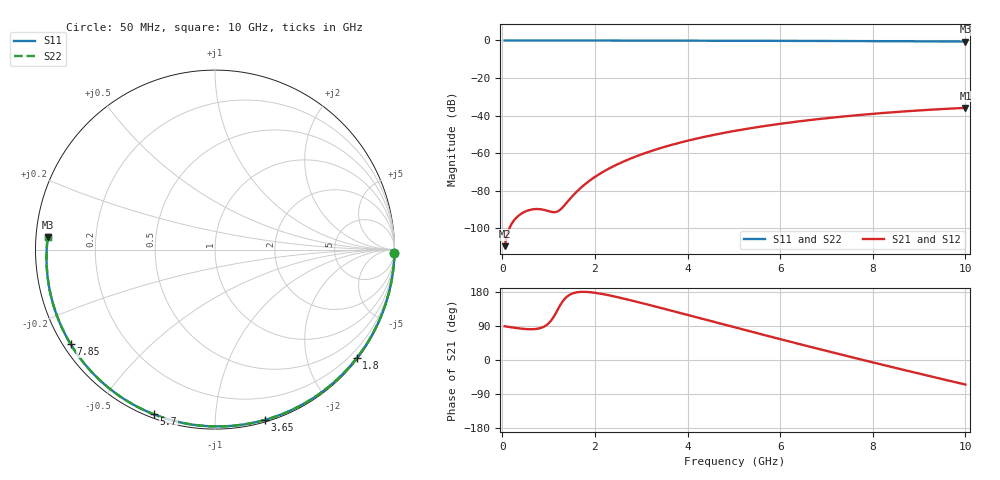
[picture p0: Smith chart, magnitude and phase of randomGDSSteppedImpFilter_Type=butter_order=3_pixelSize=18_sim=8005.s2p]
! freq	dB(S11)	phase(S11)	dB(S12)	phase(S12)
!  dB(S21)	phase(S21)	dB(S22)	phase(S22)
!S-par simulation data
#  GHz  S  DB  R 50
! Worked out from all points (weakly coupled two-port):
!   200 points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, 50 MHz to 10 GHz, reference 50 ohm
!   highest |S21| = -35.86 dB at 10 GHz (marker M1); lowest = -109.4 dB at 50 MHz (marker M2)
!   lowest |S11| = -0.6 dB at 10 GHz (marker M3), VSWR 29.47, Z = 1.7 + j1.9 ohm
!   |S11| at or under -10 dB: nowhere
!   |S22| runs from -0.6 to 0.0 dB; largest |S21 - S12| = 0
!   S11 on the Smith chart (normalised r, x): 50 MHz: open; 1.8 GHz: 0.03, -2.94; 3.65 GHz: 0.02, -1.33; 5.7 GHz: 0.02, -0.69; 7.85 GHz: 0.02, -0.30; 10 GHz: 0.03, +0.04
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0.05  -0.00 -1.1  -109.42 89.0  -109.42 89.0  -0.00 -1.1
0.4  -0.01 -8.5  -92.30 82.8  -92.30 82.8  -0.01 -8.5
0.8  -0.02 -16.9  -89.71 83.5  -89.71 83.5  -0.02 -16.9
1.6  -0.04 -33.5  -80.60 178.5  -80.60 178.5  -0.04 -33.5
1.65  -0.04 -34.5  -79.41 179.3  -79.41 179.3  -0.04 -34.5
1.75  -0.05 -36.5  -77.21 179.9  -77.21 179.9  -0.05 -36.5
1.8  -0.05 -37.5  -76.20 179.7  -76.20 179.7  -0.05 -37.5
2.1  -0.06 -43.6  -71.01 175.4  -71.01 175.4  -0.06 -43.6
2.45  -0.06 -50.6  -66.31 166.8  -66.31 166.8  -0.06 -50.6
2.9  -0.08 -59.4  -61.56 153.8  -61.56 153.8  -0.08 -59.4
3.4  -0.09 -69.0  -57.36 138.2  -57.36 138.2  -0.09 -69.0
3.65  -0.10 -73.7  -55.57 130.2  -55.57 130.2  -0.10 -73.7
4.35  -0.12 -86.6  -51.34 107.7  -51.34 107.7  -0.12 -86.6
5.05  -0.15 -99.1  -47.96 85.2  -47.96 85.2  -0.15 -99.1
5.7  -0.18 -110.4  -45.38 64.5  -45.38 64.5  -0.18 -110.4
6.2  -0.21 -119.0  -43.68 48.8  -43.68 48.8  -0.21 -119.0
6.7  -0.25 -127.4  -42.17 33.2  -42.17 33.2  -0.25 -127.4
7.3  -0.29 -137.5  -40.60 14.8  -40.60 14.8  -0.29 -137.5
7.85  -0.34 -146.7  -39.34 -1.8  -39.34 -1.8  -0.34 -146.7
8.35  -0.39 -155.2  -38.34 -16.7  -38.34 -16.7  -0.39 -155.2
9.2  -0.49 -169.9  -36.91 -41.7  -36.91 -41.7  -0.49 -169.9
10  -0.59 175.6  -35.86 -64.7  -35.86 -64.7  -0.59 175.7
